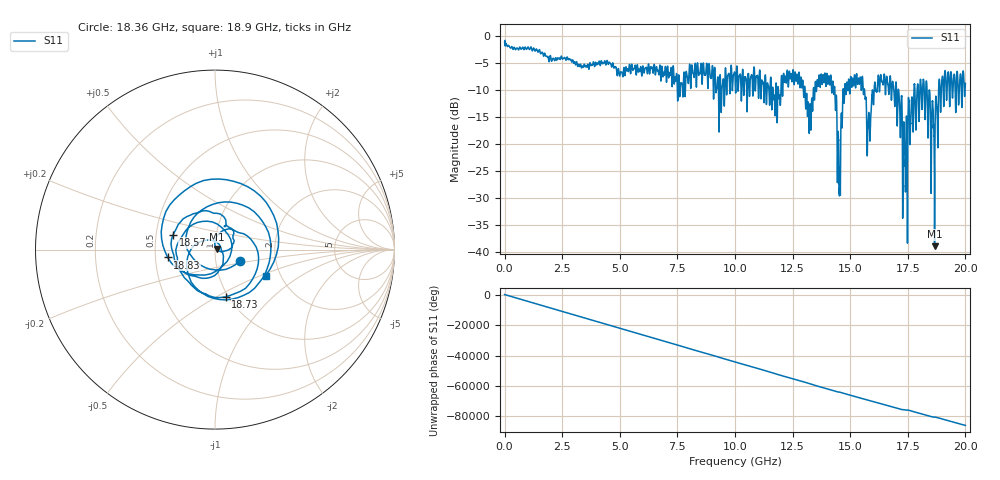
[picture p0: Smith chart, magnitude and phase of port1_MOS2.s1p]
! MS46122B
! 2250307/22442219
! 6/20/2025 7:48:56 AM
! C:\USERS\SPARKY\DOCUMENTS\VNA_DATA\JUNE20_2025\3.0K\PORT1_MOS2.S1P
! CHANNEL.1
! TR.MEASUREMENT
! RAW.DATA
# GHZ S RI R 50.0
! FREQ.GHZ  S11RE  S11IM
!; PortSelection: Port_1
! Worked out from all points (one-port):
!   10001 points, 1 MHz to 20 GHz, reference 50 ohm
!   lowest |S11| = -39.0 dB at 18.66 GHz (marker M1), VSWR 1.02, Z = 51.1 + j0.373 ohm
!   |S11| at or under -10 dB: 15.62 GHz to 16.04 GHz (419.4 MHz wide, 2.65 % of centre); 17.1 GHz to 17.77 GHz (671.5 MHz wide, 3.85 % of centre); 18.33 GHz to 18.84 GHz (503.6 MHz wide, 2.71 % of centre) (the widest 3 of 66)
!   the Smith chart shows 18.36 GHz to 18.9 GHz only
!   S11 on the Smith chart (normalised r, x): 18.36 GHz: 1.31, -0.17; 18.57 GHz: 0.61, +0.11; 18.73 GHz: 0.97, -0.55; 18.83 GHz: 0.58, -0.05; 18.9 GHz: 1.68, -0.54
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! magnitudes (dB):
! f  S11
! 1 MHz  -1.2
! 2.501 GHz  -4.3
! 5.001 GHz  -7.4
! 7.501 GHz  -10.6
! 10 GHz  -7.4
! 11.76 GHz  -12.2
! 12.5 GHz  -7.2
! 13.22 GHz  -17.9
! 14.16 GHz  -7.4
! 14.33 GHz  -9.6
! 14.52 GHz  -28.7
! 14.76 GHz  -9.5
! 15 GHz  -9.2
! 15.52 GHz  -7.6
! 15.81 GHz  -14.2
! 16.14 GHz  -10.2
! 16.66 GHz  -10.0
! 17.16 GHz  -14.9
! 17.36 GHz  -19.3
! 17.5 GHz  -18.4
! 17.73 GHz  -17.9
! 18.36 GHz  -16.4
! 18.57 GHz  -12.1
! 18.66 GHz  -39.0
! 18.73 GHz  -11.4
! 18.83 GHz  -11.5
! 18.9 GHz  -10.0
! 20 GHz  -8.8
